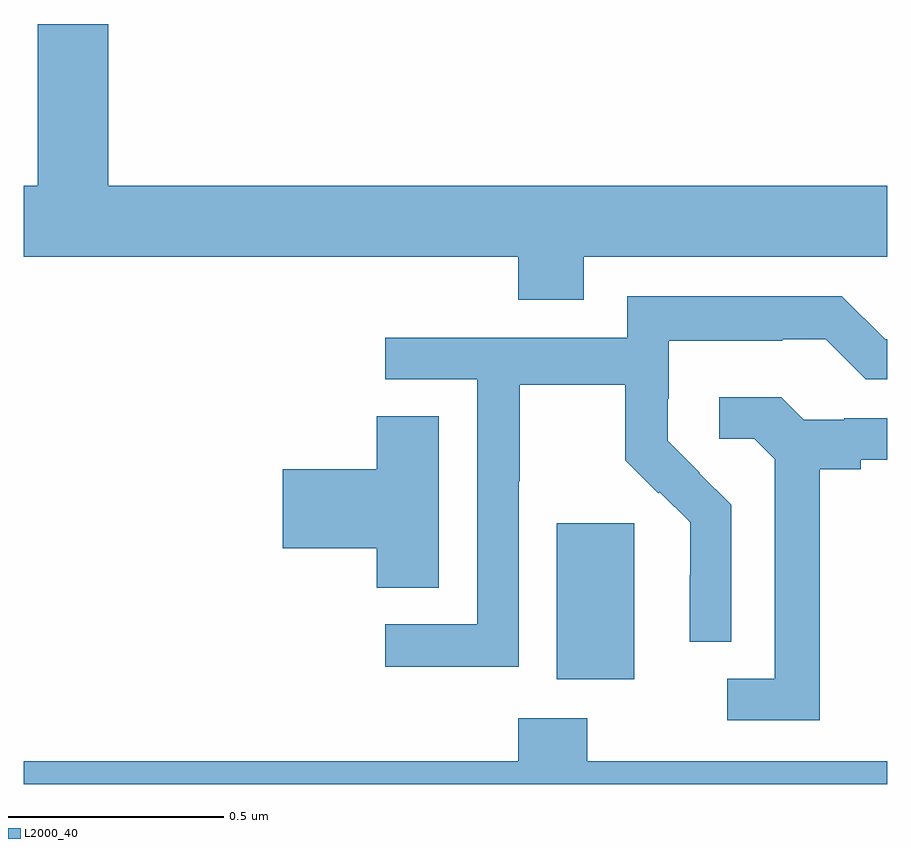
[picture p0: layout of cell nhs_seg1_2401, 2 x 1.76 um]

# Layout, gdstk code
import gdstk
lib = gdstk.Library(unit=1e-6, precision=1e-09)
def R(c, l, rs):  # rectangles x0, y0, x1, y1
    for r in rs: c.add(gdstk.rectangle(r[:2], r[2:], *l))
def P(c, l, *ps):  # polygons
    for p in ps: c.add(gdstk.Polygon(p, *l))
L2000_40 = (2000, 40)

nhs_seg1_2401 = lib.new_cell('nhs_seg1_2401')
R(nhs_seg1_2401, L2000_40, [(142.235,529.442,142.414,529.803)])
P(nhs_seg1_2401, L2000_40, [(142.297,530.42),(143,530.42),(143,530.584),(141.196,530.584),(141.196,530.959),(141.032,530.959),(141.032,530.584),(141,530.584),(141,530.42),(142.145,530.42),(142.145,530.321),(142.297,530.321)],
  [(142.146,529.9),(142.149,529.9),(142.149,530.124),(142.393,530.124),(142.393,529.949),(142.47,529.872),(142.473,529.875),(142.544,529.805),(142.544,529.682),(142.542,529.682),(142.542,529.528),(142.638,529.528),(142.638,529.846),(142.565,529.919),(142.566,529.92),(142.492,529.994),(142.492,530.091),(142.494,530.091),(142.494,530.225),(142.757,530.225),(142.757,530.229),(142.857,530.229),(142.95,530.136),(143,530.136),(143,530.229),(142.995,530.229),(142.895,530.329),(142.398,530.329),(142.398,530.232),(141.837,530.232),(141.837,530.136),(142.05,530.136),(142.05,529.569),(141.837,529.569),(141.837,529.471),(142.146,529.471)],
  [(142.843,529.928),(142.939,529.928),(142.939,529.95),(143,529.95),(143,530.046),(142.9,530.046),(142.9,530.043),(142.806,530.043),(142.754,530.095),(142.611,530.095),(142.611,529.998),(142.692,529.998),(142.739,529.951),(142.739,529.443),(142.629,529.443),(142.629,529.347),(142.843,529.347)],
  [(141.961,530.051),(141.818,530.051),(141.818,529.928),(141.6,529.928),(141.6,529.745),(141.818,529.745),(141.818,529.654),(141.961,529.654)],
  [(143,529.252),(142.305,529.252),(142.305,529.351),(142.145,529.351),(142.145,529.252),(141,529.252),(141,529.199),(143,529.199)])

lib.write_gds('nhs_seg1_2401.gds')
